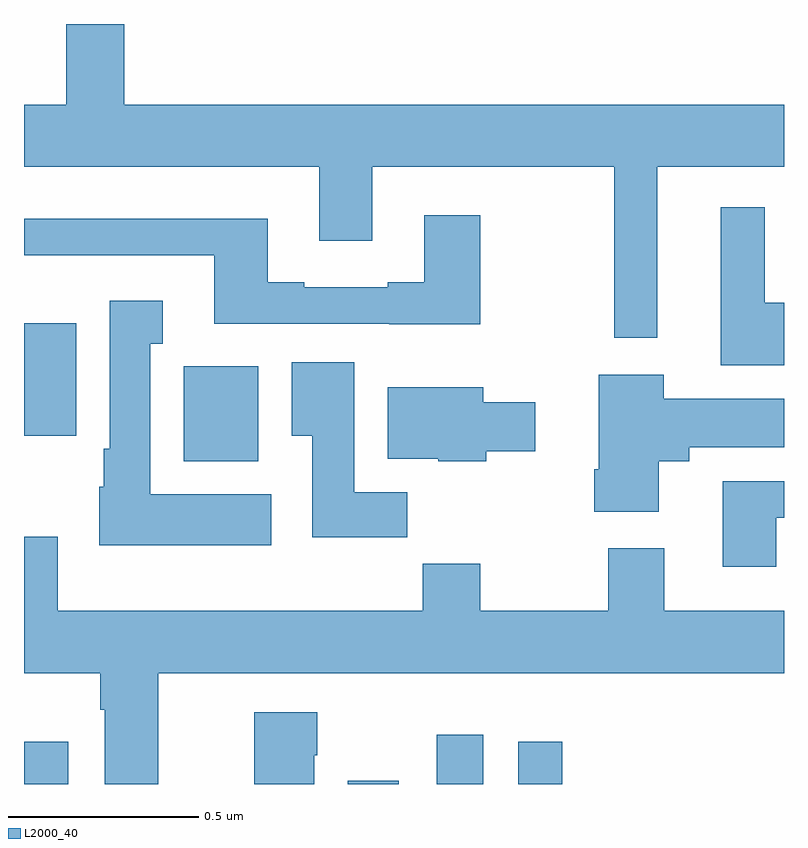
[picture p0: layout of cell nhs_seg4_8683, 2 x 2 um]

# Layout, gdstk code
import gdstk
lib = gdstk.Library(unit=1e-6, precision=1e-09)
def R(c, l, rs):  # rectangles x0, y0, x1, y1
    for r in rs: c.add(gdstk.rectangle(r[:2], r[2:], *l))
def P(c, l, *ps):  # polygons
    for p in ps: c.add(gdstk.Polygon(p, *l))
L2000_40 = (2000, 40)

nhs_seg4_8683 = lib.new_cell('nhs_seg4_8683')
R(nhs_seg4_8683, L2000_40, [(218,757.9,218.116,758.011), (218.852,757.9,218.986,757.909), (219.086,757.9,219.208,758.029), (219.3,757.9,219.416,758.011), (218.421,758.75,218.617,759), (218,758.816,218.137,759.112)])
P(nhs_seg4_8683, L2000_40, [(219.667,759.524),(220,759.524),(220,759.688),(218.264,759.688),(218.264,759.9),(218.111,759.9),(218.111,759.688),(218,759.688),(218,759.524),(218.777,759.524),(218.777,759.33),(218.917,759.33),(218.917,759.524),(219.553,759.524),(219.553,759.075),(219.667,759.075)],
  [(220,759.166),(219.949,759.166),(219.949,759.418),(219.833,759.418),(219.833,759.002),(220,759.002)],
  [(219.201,759.397),(219.053,759.397),(219.053,759.22),(218.957,759.22),(218.957,759.207),(218.737,759.207),(218.737,759.22),(218.641,759.22),(218.641,759.388),(218,759.388),(218,759.291),(218.501,759.291),(218.501,759.111),(218.961,759.111),(218.961,759.11),(219.201,759.11)],
  [(218.65,758.662),(218.332,758.662),(218.332,759.059),(218.365,759.059),(218.365,759.172),(218.225,759.172),(218.225,758.782),(218.21,758.782),(218.21,758.682),(218.198,758.682),(218.198,758.528),(218.65,758.528)],
  [(219.008,758.668),(218.869,758.668),(218.869,759.01),(218.705,759.01),(218.705,758.816),(218.759,758.816),(218.759,758.55),(219.008,758.55)],
  [(219.67,758.75),(219.751,758.75),(219.751,758.786),(220,758.786),(220,758.914),(219.683,758.914),(219.683,758.977),(219.512,758.977),(219.512,758.728),(219.5,758.728),(219.5,758.616),(219.67,758.616)],
  [(219.216,758.776),(219.346,758.776),(219.346,758.905),(219.208,758.905),(219.208,758.944),(218.957,758.944),(218.957,758.756),(219.09,758.756),(219.09,758.75),(219.216,758.75)],
  [(219.979,758.601),(220,758.601),(220,758.697),(219.839,758.697),(219.839,758.472),(219.979,758.472)],
  [(218.353,758.192),(220,758.192),(220,758.356),(219.685,758.356),(219.685,758.521),(219.538,758.521),(219.538,758.356),(219.201,758.356),(219.201,758.48),(219.049,758.48),(219.049,758.356),(218.089,758.356),(218.089,758.551),(218,758.551),(218,758.192),(218.201,758.192),(218.201,758.096),(218.213,758.096),(218.213,757.9),(218.353,757.9)],
  [(218.764,757.976),(218.772,757.976),(218.772,758.089),(218.606,758.089),(218.606,757.9),(218.764,757.9)])

lib.write_gds('nhs_seg4_8683.gds')
